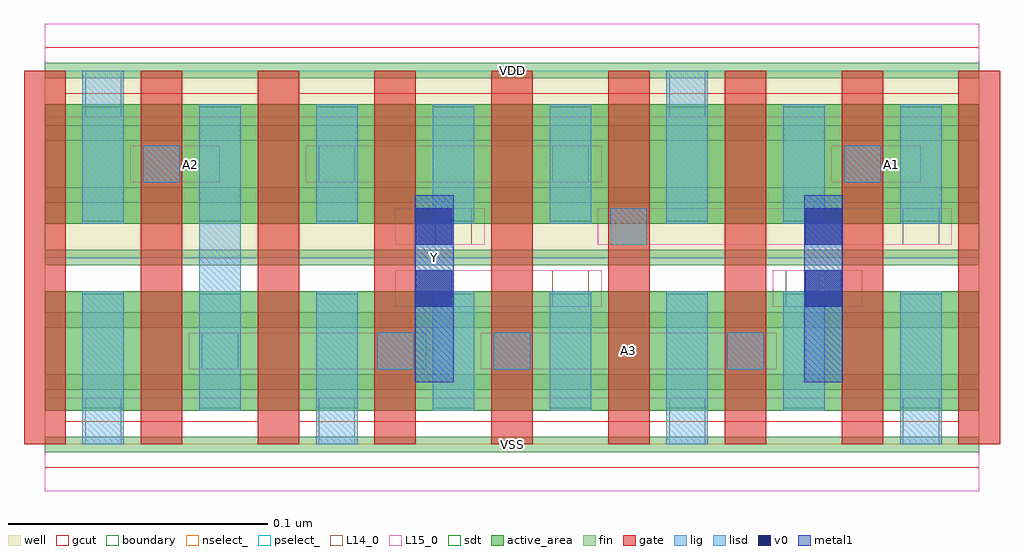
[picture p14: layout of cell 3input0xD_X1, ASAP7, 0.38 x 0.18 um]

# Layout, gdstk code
import gdstk
lib = gdstk.Library(unit=1e-6, precision=2.5e-10)
def R(c, l, rs):  # rectangles x0, y0, x1, y1
    for r in rs: c.add(gdstk.rectangle(r[:2], r[2:], *l))
def A(c, l, x, y, w, h, nx, ny, dx, dy):  # array of equal rectangles
    R(c, l, [(x+i*dx, y+j*dy, x+i*dx+w, y+j*dy+h) for i in range(nx) for j in range(ny)])
def P(c, l, *ps):  # polygons
    for p in ps: c.add(gdstk.Polygon(p, *l))
well = (1, 0)
fin = (2, 0)
gate = (7, 0)
gcut = (10, 0)
active_area = (11, 0)
nselect_ = (12, 0)
pselect_ = (13, 0)
L14_0 = (14, 0)
L15_0 = (15, 0)
lig = (16, 0)
lisd = (17, 0)
v0 = (18, 0)
metal1 = (19, 0)
sdt = (88, 0)
boundary = (100, 0)

c_3input0xd_x1 = lib.new_cell('3input0xD_X1')
R(c_3input0xd_x1, well, [(0,0.072,0.36,0.144)])
A(c_3input0xd_x1, fin, 0, -0.003, 0.36, 0.006, 1, 7, 0, 0.024)
A(c_3input0xd_x1, gate, -0.008, 0, 0.016, 0.144, 9, 1, 0.045, 0)
P(c_3input0xd_x1, gcut, [(0,-0.009),(0,0),(-0.008,0),(-0.008,0.135),(0.008,0.135),(0.008,0.009),(0.082,0.009),(0.082,0.135),(0.098,0.135),(0.098,0.009),(0.352,0.009),(0.352,0.135),(-0.008,0.135),(-0.008,0.144),(0,0.144),(0,0.153),(0.36,0.153),(0.36,0.144),(0.368,0.144),(0.368,0),(0.36,0),(0.36,-0.009)])
R(c_3input0xd_x1, active_area, [(0,0.013,0.36,0.059), (0,0.085,0.36,0.131)])
R(c_3input0xd_x1, nselect_, [(0,0,0.36,0.072)])
R(c_3input0xd_x1, pselect_, [(0,0.072,0.36,0.144)])
R(c_3input0xd_x1, L14_0, [(0.0155,0,0.0295,0.018), (0.1055,0,0.1195,0.018), (0.2405,0,0.2545,0.018), (0.3305,0,0.3445,0.018), (0.0605,0.029,0.0745,0.043), (0.128,0.029,0.142,0.043), (0.173,0.029,0.187,0.043), (0.263,0.029,0.277,0.043), (0.1955,0.053,0.2095,0.067), (0.2855,0.053,0.2995,0.067), (0.1505,0.077,0.1645,0.091), (0.218,0.077,0.232,0.091), (0.3305,0.077,0.3445,0.091), (0.038,0.101,0.052,0.115), (0.1055,0.101,0.1195,0.115), (0.1955,0.101,0.2095,0.115), (0.308,0.101,0.322,0.115), (0.0155,0.126,0.0295,0.144), (0.2405,0.126,0.2545,0.144)])
R(c_3input0xd_x1, L15_0, [(0,-0.018,0.36,0.018), (0.0555,0.029,0.147,0.043), (0.168,0.029,0.282,0.043), (0.135,0.053,0.2145,0.067), (0.2805,0.053,0.315,0.067), (0.135,0.077,0.1695,0.091), (0.213,0.077,0.3495,0.091), (0.033,0.101,0.0675,0.115), (0.1005,0.101,0.2145,0.115), (0.303,0.101,0.3375,0.115), (0,0.126,0.36,0.162)])
R(c_3input0xd_x1, lig, [(0.128,0.029,0.142,0.043), (0.173,0.029,0.187,0.043), (0.263,0.029,0.277,0.043), (0.218,0.077,0.232,0.091), (0.038,0.101,0.052,0.115), (0.308,0.101,0.322,0.115)])
A(c_3input0xd_x1, lisd, 0.1045, 0.085, 0.016, 0.046, 3, 1, 0.045, 0)
R(c_3input0xd_x1, lisd, [(0.0145,0,0.0305,0.059), (0.1045,0,0.1205,0.059), (0.2395,0,0.2555,0.059), (0.3295,0,0.3455,0.059), (0.0595,0.013,0.0755,0.131), (0.1495,0.013,0.1655,0.059), (0.1945,0.013,0.2105,0.059), (0.2845,0.013,0.3005,0.059), (0.0145,0.085,0.0305,0.144), (0.2395,0.085,0.2555,0.144), (0.2845,0.085,0.3005,0.131), (0.3295,0.085,0.3455,0.131)])
R(c_3input0xd_x1, v0, [(0.143,0.053,0.157,0.067), (0.293,0.053,0.307,0.067), (0.143,0.077,0.157,0.091), (0.293,0.077,0.307,0.091)])
R(c_3input0xd_x1, metal1, [(0.1425,0.024,0.1575,0.096), (0.2925,0.024,0.3075,0.096)])
A(c_3input0xd_x1, sdt, 0.0145, 0.014, 0.016, 0.044, 8, 2, 0.045, 0.072)
R(c_3input0xd_x1, boundary, [(0,0,0.36,0.144)])
c_3input0xd_x1.add(gdstk.Label('A3', (0.225,0.036), layer=15, texttype=251))
c_3input0xd_x1.add(gdstk.Label('VSS', (0.18,0), layer=15, texttype=251))
c_3input0xd_x1.add(gdstk.Label('VDD', (0.18,0.144), layer=15, texttype=251))
c_3input0xd_x1.add(gdstk.Label('VSS', (0.18,0), layer=15, texttype=251))
c_3input0xd_x1.add(gdstk.Label('VDD', (0.18,0.144), layer=15, texttype=251))
c_3input0xd_x1.add(gdstk.Label('A2', (0.0563,0.108), layer=15, texttype=251))
c_3input0xd_x1.add(gdstk.Label('VSS', (0.18,0), layer=15, texttype=251))
c_3input0xd_x1.add(gdstk.Label('VDD', (0.18,0.144), layer=15, texttype=251))
c_3input0xd_x1.add(gdstk.Label('A1', (0.3263,0.108), layer=15, texttype=251))
c_3input0xd_x1.add(gdstk.Label('VSS', (0.18,0), layer=15, texttype=251))
c_3input0xd_x1.add(gdstk.Label('VDD', (0.18,0.144), layer=15, texttype=251))
c_3input0xd_x1.add(gdstk.Label('VSS', (0.18,0), layer=3, texttype=251))
c_3input0xd_x1.add(gdstk.Label('VSS', (0.18,0), layer=3, texttype=251))
c_3input0xd_x1.add(gdstk.Label('VSS', (0.18,0), layer=3, texttype=251))
c_3input0xd_x1.add(gdstk.Label('VSS', (0.18,0), layer=3, texttype=251))
c_3input0xd_x1.add(gdstk.Label('VDD', (0.18,0.144), layer=1, texttype=251))
c_3input0xd_x1.add(gdstk.Label('VDD', (0.18,0.144), layer=1, texttype=251))
c_3input0xd_x1.add(gdstk.Label('VDD', (0.18,0.144), layer=1, texttype=251))
c_3input0xd_x1.add(gdstk.Label('VDD', (0.18,0.144), layer=1, texttype=251))
c_3input0xd_x1.add(gdstk.Label('Y', (0.15,0.072), layer=19, texttype=251))

lib.write_gds('3input0xD_X1.gds')
